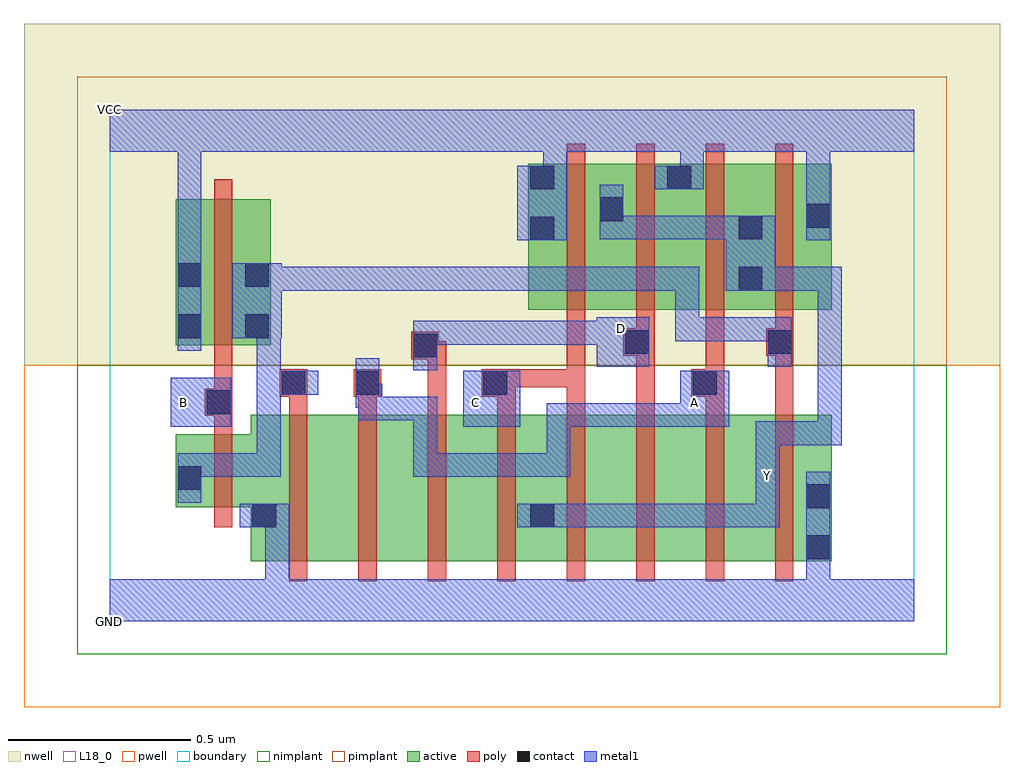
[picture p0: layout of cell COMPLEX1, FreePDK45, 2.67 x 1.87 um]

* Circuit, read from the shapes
.subckt COMPLEX1 A B C D GND VCC Y
M1 GND B n1 VSUBS nfet w=0.2u l=0.05u
M2 n2 n1 GND VSUBS nfet w=0.4u l=0.05u
M3 n3 A n2 VSUBS nfet w=0.4u l=0.05u
M4 n4 D n3 VSUBS nfet w=0.4u l=0.05u
M5 Y C n4 VSUBS nfet w=0.4u l=0.05u
M6 n5 C Y VSUBS nfet w=0.4u l=0.05u
M7 n6 D n5 VSUBS nfet w=0.4u l=0.05u
M8 n7 A n6 VSUBS nfet w=0.4u l=0.05u
M9 GND n1 n7 VSUBS nfet w=0.4u l=0.05u
M10 n1 B VCC n8 pfet w=0.4u l=0.05u
M11 Y C VCC n8 pfet w=0.4u l=0.05u
M12 VCC D Y n8 pfet w=0.4u l=0.05u
M13 Y A VCC n8 pfet w=0.4u l=0.05u
M14 VCC n1 Y n8 pfet w=0.4u l=0.05u
.ends

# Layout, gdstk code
import gdstk
lib = gdstk.Library(unit=1e-6, precision=1e-09)
def R(c, l, rs):  # rectangles x0, y0, x1, y1
    for r in rs: c.add(gdstk.rectangle(r[:2], r[2:], *l))
def A(c, l, x, y, w, h, nx, ny, dx, dy):  # array of equal rectangles
    R(c, l, [(x+i*dx, y+j*dy, x+i*dx+w, y+j*dy+h) for i in range(nx) for j in range(ny)])
active = (1, 0)
pwell = (2, 0)
nwell = (3, 0)
nimplant = (4, 0)
pimplant = (5, 0)
poly = (9, 0)
contact = (10, 0)
metal1 = (11, 0)
L18_0 = (18, 0)
boundary = (235, 0)

complex1 = lib.new_cell('COMPLEX1')
R(complex1, active, [(0.385,0.165,0.61,0.565), (0.61,0.165,0.8,0.565), (0.8,0.165,0.99,0.565), (0.99,0.165,1.22,0.565), (1.145,0.165,1.37,0.565), (1.37,0.165,1.56,0.565), (1.56,0.165,1.75,0.565), (1.75,0.165,1.975,0.565), (1.9,0.165,1.975,0.565), (1.145,0.245,1.22,0.492), (0.385,0.252,0.46,0.327), (0.18,0.312,0.46,0.512), (0.18,0.312,0.255,0.512), (0.18,0.755,0.255,1.155), (0.18,0.755,0.44,1.155), (0.365,0.755,0.44,1.155), (1.145,0.852,1.41,1.252), (1.335,0.852,1.595,1.252), (1.52,0.852,1.79,1.252), (1.715,0.852,1.975,1.252), (1.715,0.852,1.79,1.155), (1.9,0.852,1.975,1.252), (1.145,0.907,1.22,1.252), (1.335,0.907,1.41,1.187), (1.52,0.907,1.595,1.252)])
R(complex1, pwell, [(-0.235,-0.235,2.435,0.7)])
R(complex1, nwell, [(-0.235,0.7,2.435,1.635)])
R(complex1, nimplant, [(-0.09,-0.09,2.29,0.7)])
R(complex1, pimplant, [(-0.09,0.7,2.29,1.49)])
A(complex1, poly, 0.49, 0.11, 0.05, 0.51, 8, 1, 0.19, 0)
A(complex1, poly, 1.25, 0.797, 0.05, 0.51, 4, 1, 0.19, 0)
R(complex1, poly, [(0.285,0.257,0.335,0.567), (0.285,0.517,0.335,0.612), (0.26,0.562,0.335,0.637), (0.49,0.57,0.54,0.665), (0.68,0.57,0.73,0.665), (0.87,0.57,0.92,0.767), (1.06,0.57,1.11,0.665), (1.25,0.57,1.3,0.69), (1.44,0.57,1.49,0.777), (1.63,0.57,1.68,0.665), (1.82,0.57,1.87,0.777), (0.285,0.587,0.335,0.637), (0.285,0.587,0.335,0.637), (0.285,0.587,0.335,0.75), (0.465,0.615,0.54,0.69), (0.667,0.615,0.742,0.69), (1.017,0.615,1.11,0.69), (1.59,0.615,1.68,0.69), (1.06,0.64,1.3,0.69), (1.25,0.64,1.3,0.69), (1.25,0.64,1.3,0.69), (1.25,0.64,1.3,0.69), (1.25,0.64,1.3,0.69), (1.25,0.64,1.3,0.69), (1.25,0.64,1.3,0.847), (1.63,0.64,1.68,0.69), (1.63,0.64,1.68,0.69), (1.63,0.64,1.68,0.847), (0.285,0.7,0.335,1.21), (0.825,0.717,0.9,0.792), (0.85,0.717,0.9,0.767), (0.85,0.717,0.92,0.767), (1.405,0.727,1.49,0.802), (1.44,0.727,1.49,0.777), (1.44,0.727,1.49,0.777), (1.795,0.727,1.87,0.802), (1.82,0.727,1.87,0.777), (1.82,0.727,1.87,0.777), (1.44,0.752,1.49,0.847), (1.82,0.752,1.87,0.847)])
R(complex1, contact, [(1.905,0.17,1.97,0.235), (0.39,0.257,0.455,0.322), (1.15,0.257,1.215,0.322), (1.905,0.31,1.97,0.375), (0.185,0.36,0.25,0.425), (0.265,0.567,0.33,0.632), (0.47,0.62,0.535,0.685), (0.672,0.62,0.737,0.685), (1.022,0.62,1.087,0.685), (1.595,0.62,1.66,0.685), (0.83,0.722,0.895,0.787), (1.41,0.732,1.475,0.797), (1.8,0.732,1.865,0.797), (0.185,0.775,0.25,0.84), (0.37,0.775,0.435,0.84), (1.72,0.905,1.785,0.97), (0.185,0.915,0.25,0.98), (0.37,0.915,0.435,0.98), (1.15,1.042,1.215,1.107), (1.72,1.045,1.785,1.11), (1.905,1.077,1.97,1.142), (1.34,1.095,1.405,1.16), (1.15,1.182,1.215,1.247), (1.525,1.182,1.59,1.247)])
R(complex1, metal1, [(0,0,2.2,0.115), (0.425,0.05,0.49,0.322), (1.905,0.05,1.97,0.2), (1.905,0.135,1.97,0.41), (0.355,0.257,0.49,0.322), (1.115,0.257,1.25,0.322), (1.185,0.257,1.26,0.322), (1.195,0.257,1.26,0.322), (1.195,0.257,1.397,0.322), (1.332,0.257,1.397,0.322), (1.332,0.257,1.397,0.322), (1.332,0.257,1.397,0.322), (1.332,0.257,1.397,0.322), (1.332,0.257,1.397,0.322), (1.332,0.257,1.612,0.322), (1.547,0.257,1.612,0.322), (1.547,0.257,1.612,0.322), (1.547,0.257,1.612,0.322), (1.547,0.257,1.832,0.322), (1.767,0.257,1.832,0.322), (1.767,0.257,1.832,0.397), (0.185,0.325,0.25,0.46), (1.767,0.332,1.832,0.547), (0.185,0.395,0.25,0.46), (0.185,0.395,0.25,0.46), (0.185,0.395,0.467,0.46), (0.402,0.395,0.467,0.46), (0.402,0.395,0.467,0.685), (0.83,0.395,0.895,0.46), (0.83,0.395,1.122,0.46), (0.83,0.395,0.895,0.615), (1.057,0.395,1.122,0.46), (1.057,0.395,1.26,0.46), (1.195,0.395,1.26,0.46), (1.195,0.395,1.26,0.597), (1.767,0.482,2.002,0.547), (1.937,0.482,2.002,0.547), (1.937,0.482,2.002,0.547), (1.937,0.482,2.002,0.547), (1.937,0.482,2.002,0.97), (0.167,0.532,0.33,0.667), (0.967,0.532,1.122,0.685), (1.195,0.532,1.26,0.597), (1.195,0.532,1.26,0.597), (1.195,0.532,1.26,0.597), (1.195,0.532,1.397,0.597), (1.332,0.532,1.397,0.597), (1.332,0.532,1.397,0.597), (1.332,0.532,1.397,0.597), (1.332,0.532,1.612,0.597), (1.547,0.532,1.612,0.597), (1.547,0.532,1.625,0.597), (1.56,0.532,1.695,0.685), (0.68,0.55,0.895,0.615), (0.68,0.55,0.745,0.65), (0.83,0.55,0.895,0.615), (0.83,0.55,0.895,0.615), (0.83,0.55,0.895,0.615), (0.672,0.585,0.737,0.72), (0.672,0.585,0.745,0.65), (0.402,0.62,0.467,0.685), (0.402,0.62,0.5,0.685), (0.402,0.62,0.467,0.832), (0.435,0.62,0.57,0.685), (0.83,0.687,0.895,0.822), (1.332,0.697,1.475,0.832), (1.8,0.697,1.865,0.832), (0.185,0.74,0.25,1.015), (0.83,0.757,0.895,0.822), (0.83,0.757,0.895,0.822), (0.83,0.757,1.032,0.822), (0.967,0.757,1.032,0.822), (0.967,0.757,1.032,0.822), (0.967,0.757,1.032,0.822), (0.967,0.757,1.26,0.822), (1.195,0.757,1.26,0.822), (1.195,0.757,1.397,0.822), (1.332,0.757,1.397,0.822), (1.332,0.757,1.397,0.822), (0.402,0.767,0.467,0.832), (0.402,0.767,0.467,0.84), (1.547,0.767,1.612,0.832), (1.547,0.767,1.612,0.832), (1.547,0.767,1.612,0.832), (1.547,0.767,1.832,0.832), (1.547,0.767,1.612,0.97), (1.767,0.767,1.832,0.832), (1.767,0.767,1.865,0.832), (0.335,0.775,0.47,0.98), (0.405,0.905,0.47,0.97), (0.405,0.905,0.47,0.97), (0.405,0.905,0.607,0.97), (0.542,0.905,0.607,0.97), (0.542,0.905,0.607,0.97), (0.542,0.905,0.607,0.97), (0.542,0.905,0.745,0.97), (0.68,0.905,0.745,0.97), (0.68,0.905,0.895,0.97), (0.83,0.905,0.895,0.97), (0.83,0.905,0.895,0.97), (0.83,0.905,0.895,0.97), (0.83,0.905,1.122,0.97), (1.057,0.905,1.122,0.97), (1.057,0.905,1.26,0.97), (1.195,0.905,1.26,0.97), (1.195,0.905,1.26,0.97), (1.195,0.905,1.26,0.97), (1.195,0.905,1.397,0.97), (1.332,0.905,1.397,0.97), (1.332,0.905,1.397,0.97), (1.332,0.905,1.397,0.97), (1.332,0.905,1.612,0.97), (1.547,0.905,1.612,0.97), (1.685,0.905,1.82,1.11), (1.755,0.905,2.002,0.97), (1.937,0.905,2.002,0.97), (1.937,0.905,2.002,0.97), (1.937,0.905,2.002,0.97), (1.937,0.905,2.002,0.97), (1.937,0.905,2.002,0.97), (0.185,0.95,0.25,1.35), (1.115,1.042,1.25,1.247), (1.905,1.042,1.97,1.177), (1.34,1.045,1.612,1.11), (1.34,1.045,1.405,1.125), (1.547,1.045,1.612,1.11), (1.547,1.045,1.612,1.11), (1.547,1.045,1.612,1.11), (1.547,1.045,1.75,1.11), (1.685,1.045,1.75,1.11), (1.685,1.045,1.75,1.11), (1.34,1.06,1.405,1.195), (1.34,1.06,1.405,1.125), (1.905,1.112,1.97,1.35), (1.185,1.182,1.25,1.35), (1.49,1.182,1.625,1.247), (1.56,1.182,1.625,1.35), (0,1.285,2.2,1.4)])
R(complex1, L18_0, [(0,0,2.2,0.115), (0.425,0.05,0.49,0.322), (1.905,0.05,1.97,0.2), (1.905,0.135,1.97,0.41), (0.355,0.257,0.49,0.322), (1.115,0.257,1.25,0.322), (1.185,0.257,1.26,0.322), (1.195,0.257,1.26,0.322), (1.195,0.257,1.397,0.322), (1.332,0.257,1.397,0.322), (1.332,0.257,1.397,0.322), (1.332,0.257,1.397,0.322), (1.332,0.257,1.397,0.322), (1.332,0.257,1.397,0.322), (1.332,0.257,1.612,0.322), (1.547,0.257,1.612,0.322), (1.547,0.257,1.612,0.322), (1.547,0.257,1.612,0.322), (1.547,0.257,1.832,0.322), (1.767,0.257,1.832,0.322), (1.767,0.257,1.832,0.397), (1.767,0.332,1.832,0.547), (1.767,0.367,1.832,0.432), (0.83,0.395,0.895,0.46), (0.83,0.395,0.895,0.615), (0.83,0.395,1.122,0.46), (1.057,0.395,1.122,0.46), (1.057,0.395,1.26,0.46), (1.195,0.395,1.26,0.46), (1.195,0.395,1.26,0.597), (1.767,0.482,2.002,0.547), (1.937,0.482,2.002,0.547), (1.937,0.482,2.002,0.547), (1.937,0.482,2.002,0.547), (1.937,0.482,2.002,0.97), (0.167,0.532,0.33,0.667), (0.967,0.532,1.122,0.685), (1.195,0.532,1.26,0.597), (1.195,0.532,1.26,0.597), (1.195,0.532,1.26,0.597), (1.195,0.532,1.397,0.597), (1.332,0.532,1.397,0.597), (1.332,0.532,1.397,0.597), (1.332,0.532,1.397,0.597), (1.332,0.532,1.612,0.597), (1.547,0.532,1.612,0.597), (1.547,0.532,1.625,0.597), (1.56,0.532,1.695,0.685), (0.68,0.55,0.745,0.65), (0.68,0.55,0.895,0.615), (0.83,0.55,0.895,0.615), (0.83,0.55,0.895,0.615), (0.83,0.55,0.895,0.615), (0.167,0.567,0.232,0.632), (0.967,0.567,1.032,0.632), (1.567,0.567,1.632,0.632), (0.672,0.585,0.737,0.72), (0.672,0.585,0.745,0.65), (0.83,0.687,0.895,0.822), (1.332,0.697,1.475,0.832), (0.185,0.74,0.25,1.015), (0.83,0.757,0.895,0.822), (0.83,0.757,0.895,0.822), (0.83,0.757,1.032,0.822), (0.967,0.757,1.032,0.822), (0.967,0.757,1.032,0.822), (0.967,0.757,1.032,0.822), (0.967,0.757,1.26,0.822), (1.195,0.757,1.26,0.822), (1.195,0.757,1.397,0.822), (1.332,0.757,1.397,0.822), (1.332,0.757,1.397,0.822), (1.367,0.767,1.432,0.832), (1.685,0.905,1.82,1.11), (1.755,0.905,2.002,0.97), (1.937,0.905,2.002,0.97), (1.937,0.905,2.002,0.97), (1.937,0.905,2.002,0.97), (1.937,0.905,2.002,0.97), (1.937,0.905,2.002,0.97), (0.185,0.95,0.25,1.35), (1.115,1.042,1.25,1.247), (1.905,1.042,1.97,1.177), (1.34,1.045,1.405,1.125), (1.34,1.045,1.612,1.11), (1.547,1.045,1.612,1.11), (1.547,1.045,1.612,1.11), (1.547,1.045,1.612,1.11), (1.547,1.045,1.75,1.11), (1.685,1.045,1.75,1.11), (1.685,1.045,1.75,1.11), (1.34,1.06,1.405,1.195), (1.34,1.06,1.405,1.125), (1.905,1.112,1.97,1.35), (1.185,1.182,1.25,1.35), (1.49,1.182,1.625,1.247), (1.56,1.182,1.625,1.35), (0,1.285,2.2,1.4)])
R(complex1, boundary, [(0,0,2.2,1.4)])
complex1.add(gdstk.Label('A', (1.6,0.6), layer=11, texttype=0))
complex1.add(gdstk.Label('B', (0.2,0.6), layer=11, texttype=0))
complex1.add(gdstk.Label('C', (1,0.6), layer=11, texttype=0))
complex1.add(gdstk.Label('D', (1.4,0.8), layer=11, texttype=0))
complex1.add(gdstk.Label('Y', (1.8,0.4), layer=11, texttype=0))
complex1.add(gdstk.Label('VCC', (0,1.4), layer=11, texttype=0))
complex1.add(gdstk.Label('GND', (0,0), layer=11, texttype=0))

lib.write_gds('COMPLEX1.gds')
